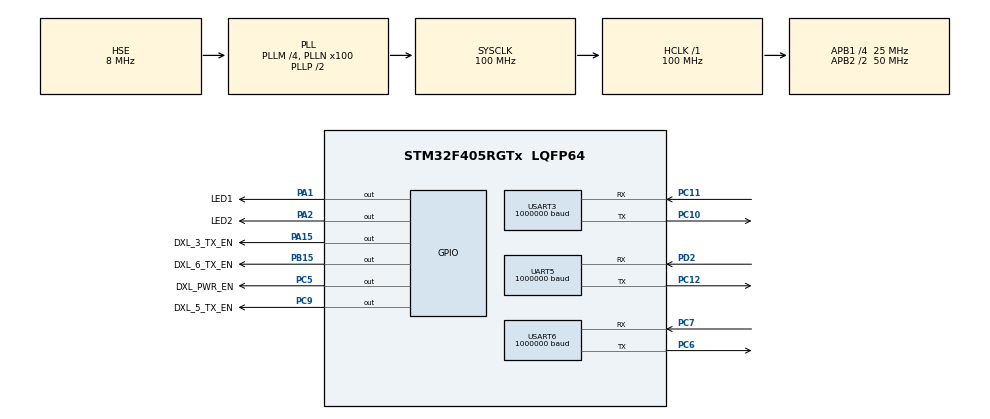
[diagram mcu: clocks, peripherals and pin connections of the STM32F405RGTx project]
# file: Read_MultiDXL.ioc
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FREERTOS.BinarySemaphores01=testDXL_semaphore,Dynamic,NULL,Available;readPosRxCmd_Semaphore,Dynamic,NULL,Available;readPosTxCmd_Semaphore,Dynamic,NULL,Available
FREERTOS.Tasks01=defaultTask,0,512,StartDefaultTask,Default,NULL,Dynamic,NULL,NULL;readPosU3Task,0,1024,StartReadPositionU3Task,Default,NULL,Dynamic,NULL,NULL;readPosU5Task,0,1024,StartReadPositionU5Task,Default,NULL,Dynamic,NULL,NULL;readPosU6Task,0,1024,StartReadPositionU6Task,Default,NULL,Dynamic,NULL,NULL
FREERTOS.configTOTAL_HEAP_SIZE=20000
FREERTOS.configUSE_NEWLIB_REENTRANT=1
Mcu.Family=STM32F4
Mcu.Name=STM32F405RGTx
Mcu.Package=LQFP64
NVIC.PriorityGroup=NVIC_PRIORITYGROUP_4
NVIC.TIM8_TRG_COM_TIM14_IRQn=true\:15\:0\:false\:false\:true\:false\:false\:true\:true
NVIC.TimeBase=TIM8_TRG_COM_TIM14_IRQn
NVIC.TimeBaseIP=TIM14
NVIC.UART5_IRQn=true\:5\:0\:false\:false\:true\:true\:true\:true\:true
NVIC.USART3_IRQn=true\:5\:0\:false\:false\:true\:true\:true\:true\:true
NVIC.USART6_IRQn=true\:5\:0\:false\:false\:true\:true\:true\:true\:true
PA1.GPIO_Label=LED1
PA1.Signal=GPIO_Output
PA13.Mode=Serial_Wire
PA13.Signal=SYS_JTMS-SWDIO
PA14.Mode=Serial_Wire
PA14.Signal=SYS_JTCK-SWCLK
PA15.GPIO_Label=DXL_3_TX_EN
PA15.Signal=GPIO_Output
PA2.GPIO_Label=LED2
PA2.Signal=GPIO_Output
PB15.GPIO_Label=DXL_6_TX_EN
PB15.Signal=GPIO_Output
PC10.Mode=Asynchronous
PC10.Signal=USART3_TX
PC11.Mode=Asynchronous
PC11.Signal=USART3_RX
PC12.Mode=Asynchronous
PC12.Signal=UART5_TX
PC5.GPIO_Label=DXL_PWR_EN
PC5.Signal=GPIO_Output
PC6.Mode=Asynchronous
PC6.Signal=USART6_TX
PC7.Mode=Asynchronous
PC7.Signal=USART6_RX
PC9.GPIO_Label=DXL_5_TX_EN
PC9.Signal=GPIO_Output
PD2.Mode=Asynchronous
PD2.Signal=UART5_RX
PH0-OSC_IN.Mode=HSE-External-Oscillator
PH0-OSC_IN.Signal=RCC_OSC_IN
PH1-OSC_OUT.Mode=HSE-External-Oscillator
PH1-OSC_OUT.Signal=RCC_OSC_OUT
ProjectManager.HeapSize=0x200
ProjectManager.StackSize=0x400
ProjectManager.TargetToolchain=STM32CubeIDE
RCC.48MHZClocksFreq_Value=50000000
RCC.AHBFreq_Value=100000000
RCC.APB1CLKDivider=RCC_HCLK_DIV4
RCC.APB1Freq_Value=25000000
RCC.APB1TimFreq_Value=50000000
RCC.APB2CLKDivider=RCC_HCLK_DIV2
RCC.APB2Freq_Value=50000000
RCC.APB2TimFreq_Value=100000000
RCC.CortexFreq_Value=100000000
RCC.HCLKFreq_Value=100000000
RCC.HSE_VALUE=8000000
RCC.HSI_VALUE=16000000
RCC.LSE_VALUE=32768
RCC.PLLM=4
RCC.PLLN=100
RCC.PLLSourceVirtual=RCC_PLLSOURCE_HSE
RCC.SYSCLKFreq_VALUE=100000000
RCC.SYSCLKSource=RCC_SYSCLKSOURCE_PLLCLK
RCC.VCOOutputFreq_Value=200000000
UART5.BaudRate=1000000
UART5.VirtualMode=Asynchronous
USART3.BaudRate=1000000
USART3.VirtualMode=VM_ASYNC
USART6.BaudRate=1000000
USART6.VirtualMode=VM_ASYNC
VP_FREERTOS_VS_CMSIS_V1.Mode=CMSIS_V1
VP_SYS_VS_tim14.Mode=TIM14
board=custom

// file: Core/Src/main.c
/* USER CODE BEGIN Header */
/**
  ******************************************************************************
  * @file           : main.c
  * @brief          : Main program body
  ******************************************************************************
  * @attention
  *
  * Copyright (c) 2025 STMicroelectronics.
  * All rights reserved.
  *
  * This software is licensed under terms that can be found in the LICENSE file
  * in the root directory of this software component.
  * If no LICENSE file comes with this software, it is provided AS-IS.
  *
  ******************************************************************************
  */
/* USER CODE END Header */
#include "main.h"
#include "cmsis_os.h"

/* USER CODE BEGIN Includes */
#include "string.h"
#include "stdbool.h"
#include "rbuf.h"
/* USER CODE END Includes */

/* USER CODE BEGIN PD */
//#define Test_DXL
#define DxlBufferSize				50
#define RingBufferSize				50
#define PositionResponseLength		15
/* USER CODE END PD */

UART_HandleTypeDef huart5;
UART_HandleTypeDef huart3;
UART_HandleTypeDef huart6;

osThreadId defaultTaskHandle;
osThreadId readPosU3TaskHandle;
osThreadId readPosU5TaskHandle;
osThreadId readPosU6TaskHandle;
osSemaphoreId testDXL_semaphoreHandle;
osSemaphoreId readPosRxCmd_SemaphoreHandle;
osSemaphoreId readPosTxCmd_SemaphoreHandle;
/* USER CODE BEGIN PV */

typedef enum
{
	ID_1 = 1,
	ID_2 = 2,
	ID_3 = 3
}DXL_ID_t;

typedef struct
{
	RBUF_HandleTypeDef *rbuf;
	uint8_t ringBuffer[RingBufferSize];
	uint8_t ringBuffer_Counter;
}RING_BUF_t;
RING_BUF_t ringBuf3, ringBuf5, ringBuf6;

typedef struct
{
	uint8_t rxByte;
	uint8_t dxlRecBuffer[DxlBufferSize];
	uint16_t dxlPosition;
}DXL_PKT_t;
DXL_PKT_t pkt3, pkt5, pkt6;

/* USER CODE END PV */

void SystemClock_Config(void);
static void MX_GPIO_Init(void);
static void MX_UART5_Init(void);
static void MX_USART3_UART_Init(void);
static void MX_USART6_UART_Init(void);
void StartDefaultTask(void const * argument);
void StartReadPositionU3Task(void const * argument);
void StartReadPositionU5Task(void const * argument);
void StartReadPositionU6Task(void const * argument);

/* USER CODE BEGIN PFP */
uint16_t update_crc(uint16_t crc_accum, uint8_t *data_blk_ptr, uint16_t data_blk_size);
void ReadPos_Request(uint8_t ID);
uint16_t Pos_Calculate(uint8_t *packet);
void test_dxl(void);
/* USER CODE END PFP */

int main(void)
{

  /* MCU Configuration--------------------------------------------------------*/

  /* Reset of all peripherals, Initializes the Flash interface and the Systick. */
  HAL_Init();

  /* Configure the system clock */
  SystemClock_Config();

  /* Initialize all configured peripherals */
  MX_GPIO_Init();
  MX_UART5_Init();
  MX_USART3_UART_Init();
  MX_USART6_UART_Init();
  /* USER CODE BEGIN 2 */
  HAL_GPIO_WritePin(DXL_PWR_EN_GPIO_Port, DXL_PWR_EN_Pin, GPIO_PIN_SET);

  HAL_UART_Receive_IT(&huart3, &pkt3.rxByte, 1);
  HAL_UART_Receive_IT(&huart5, &pkt5.rxByte, 1);
  HAL_UART_Receive_IT(&huart6, &pkt6.rxByte, 1);

  ringBuf3.rbuf = RBUF_Init(sizeof(uint8_t), RingBufferSize);
  ringBuf5.rbuf = RBUF_Init(sizeof(uint8_t), RingBufferSize);
  ringBuf6.rbuf = RBUF_Init(sizeof(uint8_t), RingBufferSize);
  /* USER CODE END 2 */

  /* Create the semaphores(s) */
  /* definition and creation of testDXL_semaphore */
  osSemaphoreDef(testDXL_semaphore);
  testDXL_semaphoreHandle = osSemaphoreCreate(osSemaphore(testDXL_semaphore), 1);

  /* definition and creation of readPosRxCmd_Semaphore */
  osSemaphoreDef(readPosRxCmd_Semaphore);
  readPosRxCmd_SemaphoreHandle = osSemaphoreCreate(osSemaphore(readPosRxCmd_Semaphore), 1);

  /* definition and creation of readPosTxCmd_Semaphore */
  osSemaphoreDef(readPosTxCmd_Semaphore);
  readPosTxCmd_SemaphoreHandle = osSemaphoreCreate(osSemaphore(readPosTxCmd_Semaphore), 1);

  /* Create the thread(s) */
  /* definition and creation of defaultTask */
  osThreadDef(defaultTask, StartDefaultTask, osPriorityNormal, 0, 512);
  defaultTaskHandle = osThreadCreate(osThread(defaultTask), NULL);

  /* definition and creation of readPosU3Task */
  osThreadDef(readPosU3Task, StartReadPositionU3Task, osPriorityNormal, 0, 1024);
  readPosU3TaskHandle = osThreadCreate(osThread(readPosU3Task), NULL);

  /* definition and creation of readPosU5Task */
  osThreadDef(readPosU5Task, StartReadPositionU5Task, osPriorityNormal, 0, 1024);
  readPosU5TaskHandle = osThreadCreate(osThread(readPosU5Task), NULL);

  /* definition and creation of readPosU6Task */
  osThreadDef(readPosU6Task, StartReadPositionU6Task, osPriorityNormal, 0, 1024);
  readPosU6TaskHandle = osThreadCreate(osThread(readPosU6Task), NULL);

  /* Start scheduler */
  osKernelStart();

  /* We should never get here as control is now taken by the scheduler */

  /* Infinite loop */
  while (1)
  {

  }
}

void SystemClock_Config(void)
{
  RCC_OscInitTypeDef RCC_OscInitStruct = {0};
  RCC_ClkInitTypeDef RCC_ClkInitStruct = {0};

  /** Configure the main internal regulator output voltage
  */
  __HAL_RCC_PWR_CLK_ENABLE();
  __HAL_PWR_VOLTAGESCALING_CONFIG(PWR_REGULATOR_VOLTAGE_SCALE1);

  /** Initializes the RCC Oscillators according to the specified parameters
  * in the RCC_OscInitTypeDef structure.
  */
  RCC_OscInitStruct.OscillatorType = RCC_OSCILLATORTYPE_HSE;
  RCC_OscInitStruct.HSEState = RCC_HSE_ON;
  RCC_OscInitStruct.PLL.PLLState = RCC_PLL_ON;
  RCC_OscInitStruct.PLL.PLLSource = RCC_PLLSOURCE_HSE;
  RCC_OscInitStruct.PLL.PLLM = 4;
  RCC_OscInitStruct.PLL.PLLN = 100;
  RCC_OscInitStruct.PLL.PLLP = RCC_PLLP_DIV2;
  RCC_OscInitStruct.PLL.PLLQ = 4;
  if (HAL_RCC_OscConfig(&RCC_OscInitStruct) != HAL_OK)
  {
    Error_Handler();
  }

  /** Initializes the CPU, AHB and APB buses clocks
  */
  RCC_ClkInitStruct.ClockType = RCC_CLOCKTYPE_HCLK|RCC_CLOCKTYPE_SYSCLK
                              |RCC_CLOCKTYPE_PCLK1|RCC_CLOCKTYPE_PCLK2;
  RCC_ClkInitStruct.SYSCLKSource = RCC_SYSCLKSOURCE_PLLCLK;
  RCC_ClkInitStruct.AHBCLKDivider = RCC_SYSCLK_DIV1;
  RCC_ClkInitStruct.APB1CLKDivider = RCC_HCLK_DIV4;
  RCC_ClkInitStruct.APB2CLKDivider = RCC_HCLK_DIV2;

  if (HAL_RCC_ClockConfig(&RCC_ClkInitStruct, FLASH_LATENCY_3) != HAL_OK)
  {
    Error_Handler();
  }
}

static void MX_UART5_Init(void)
{

  huart5.Instance = UART5;
  huart5.Init.BaudRate = 1000000;
  huart5.Init.WordLength = UART_WORDLENGTH_8B;
  huart5.Init.StopBits = UART_STOPBITS_1;
  huart5.Init.Parity = UART_PARITY_NONE;
  huart5.Init.Mode = UART_MODE_TX_RX;
  huart5.Init.HwFlowCtl = UART_HWCONTROL_NONE;
  huart5.Init.OverSampling = UART_OVERSAMPLING_16;
  if (HAL_UART_Init(&huart5) != HAL_OK)
  {
    Error_Handler();
  }

}

static void MX_USART3_UART_Init(void)
{

  huart3.Instance = USART3;
  huart3.Init.BaudRate = 1000000;
  huart3.Init.WordLength = UART_WORDLENGTH_8B;
  huart3.Init.StopBits = UART_STOPBITS_1;
  huart3.Init.Parity = UART_PARITY_NONE;
  huart3.Init.Mode = UART_MODE_TX_RX;
  huart3.Init.HwFlowCtl = UART_HWCONTROL_NONE;
  huart3.Init.OverSampling = UART_OVERSAMPLING_16;
  if (HAL_UART_Init(&huart3) != HAL_OK)
  {
    Error_Handler();
  }

}

static void MX_USART6_UART_Init(void)
{

  huart6.Instance = USART6;
  huart6.Init.BaudRate = 1000000;
  huart6.Init.WordLength = UART_WORDLENGTH_8B;
  huart6.Init.StopBits = UART_STOPBITS_1;
  huart6.Init.Parity = UART_PARITY_NONE;
  huart6.Init.Mode = UART_MODE_TX_RX;
  huart6.Init.HwFlowCtl = UART_HWCONTROL_NONE;
  huart6.Init.OverSampling = UART_OVERSAMPLING_16;
  if (HAL_UART_Init(&huart6) != HAL_OK)
  {
    Error_Handler();
  }

}

static void MX_GPIO_Init(void)
{
  GPIO_InitTypeDef GPIO_InitStruct = {0};

  /* GPIO Ports Clock Enable */
  __HAL_RCC_GPIOH_CLK_ENABLE();
  __HAL_RCC_GPIOA_CLK_ENABLE();
  __HAL_RCC_GPIOC_CLK_ENABLE();
  __HAL_RCC_GPIOB_CLK_ENABLE();
  __HAL_RCC_GPIOD_CLK_ENABLE();

  /*Configure GPIO pin Output Level */
  HAL_GPIO_WritePin(GPIOA, LED1_Pin|LED2_Pin|DXL_3_TX_EN_Pin, GPIO_PIN_RESET);

  /*Configure GPIO pin Output Level */
  HAL_GPIO_WritePin(GPIOC, DXL_PWR_EN_Pin|DXL_5_TX_EN_Pin, GPIO_PIN_RESET);

  /*Configure GPIO pin Output Level */
  HAL_GPIO_WritePin(DXL_6_TX_EN_GPIO_Port, DXL_6_TX_EN_Pin, GPIO_PIN_RESET);

  /*Configure GPIO pins : LED1_Pin LED2_Pin DXL_3_TX_EN_Pin */
  GPIO_InitStruct.Pin = LED1_Pin|LED2_Pin|DXL_3_TX_EN_Pin;
  GPIO_InitStruct.Mode = GPIO_MODE_OUTPUT_PP;
  GPIO_InitStruct.Pull = GPIO_NOPULL;
  GPIO_InitStruct.Speed = GPIO_SPEED_FREQ_LOW;
  HAL_GPIO_Init(GPIOA, &GPIO_InitStruct);

  /*Configure GPIO pins : DXL_PWR_EN_Pin DXL_5_TX_EN_Pin */
  GPIO_InitStruct.Pin = DXL_PWR_EN_Pin|DXL_5_TX_EN_Pin;
  GPIO_InitStruct.Mode = GPIO_MODE_OUTPUT_PP;
  GPIO_InitStruct.Pull = GPIO_NOPULL;
  GPIO_InitStruct.Speed = GPIO_SPEED_FREQ_LOW;
  HAL_GPIO_Init(GPIOC, &GPIO_InitStruct);

  /*Configure GPIO pin : DXL_6_TX_EN_Pin */
  GPIO_InitStruct.Pin = DXL_6_TX_EN_Pin;
  GPIO_InitStruct.Mode = GPIO_MODE_OUTPUT_PP;
  GPIO_InitStruct.Pull = GPIO_NOPULL;
  GPIO_InitStruct.Speed = GPIO_SPEED_FREQ_LOW;
  HAL_GPIO_Init(DXL_6_TX_EN_GPIO_Port, &GPIO_InitStruct);

}

/* USER CODE BEGIN 4 */
// <---- ----- Calculate CRC ----- ---->
uint16_t update_crc(uint16_t crc_accum, uint8_t *data_blk_ptr, uint16_t data_blk_size)
{
    uint16_t i, j;
    static const uint16_t crc_table[256] = {
        0x0000, 0x8005, 0x800F, 0x000A, 0x801B, 0x001E, 0x0014, 0x8011,
        0x8033, 0x0036, 0x003C, 0x8039, 0x0028, 0x802D, 0x8027, 0x0022,
        0x8063, 0x0066, 0x006C, 0x8069, 0x0078, 0x807D, 0x8077, 0x0072,
        0x0050, 0x8055, 0x805F, 0x005A, 0x804B, 0x004E, 0x0044, 0x8041,
        0x80C3, 0x00C6, 0x00CC, 0x80C9, 0x00D8, 0x80DD, 0x80D7, 0x00D2,
        0x00F0, 0x80F5, 0x80FF, 0x00FA, 0x80EB, 0x00EE, 0x00E4, 0x80E1,
        0x00A0, 0x80A5, 0x80AF, 0x00AA, 0x80BB, 0x00BE, 0x00B4, 0x80B1,
        0x8093, 0x0096, 0x009C, 0x8099, 0x0088, 0x808D, 0x8087, 0x0082,
        0x8183, 0x0186, 0x018C, 0x8189, 0x0198, 0x819D, 0x8197, 0x0192,
        0x01B0, 0x81B5, 0x81BF, 0x01BA, 0x81AB, 0x01AE, 0x01A4, 0x81A1,
        0x01E0, 0x81E5, 0x81EF, 0x01EA, 0x81FB, 0x01FE, 0x01F4, 0x81F1,
        0x81D3, 0x01D6, 0x01DC, 0x81D9, 0x01C8, 0x81CD, 0x81C7, 0x01C2,
        0x0140, 0x8145, 0x814F, 0x014A, 0x815B, 0x015E, 0x0154, 0x8151,
        0x8173, 0x0176, 0x017C, 0x8179, 0x0168, 0x816D, 0x8167, 0x0162,
        0x8123, 0x0126, 0x012C, 0x8129, 0x0138, 0x813D, 0x8137, 0x0132,
        0x0110, 0x8115, 0x811F, 0x011A, 0x810B, 0x010E, 0x0104, 0x8101,
        0x8303, 0x0306, 0x030C, 0x8309, 0x0318, 0x831D, 0x8317, 0x0312,
        0x0330, 0x8335, 0x833F, 0x033A, 0x832B, 0x032E, 0x0324, 0x8321,
        0x0360, 0x8365, 0x836F, 0x036A, 0x837B, 0x037E, 0x0374, 0x8371,
        0x8353, 0x0356, 0x035C, 0x8359, 0x0348, 0x834D, 0x8347, 0x0342,
        0x03C0, 0x83C5, 0x83CF, 0x03CA, 0x83DB, 0x03DE, 0x03D4, 0x83D1,
        0x83F3, 0x03F6, 0x03FC, 0x83F9, 0x03E8, 0x83ED, 0x83E7, 0x03E2,
        0x83A3, 0x03A6, 0x03AC, 0x83A9, 0x03B8, 0x83BD, 0x83B7, 0x03B2,
        0x0390, 0x8395, 0x839F, 0x039A, 0x838B, 0x038E, 0x0384, 0x8381,
        0x0280, 0x8285, 0x828F, 0x028A, 0x829B, 0x029E, 0x0294, 0x8291,
        0x82B3, 0x02B6, 0x02BC, 0x82B9, 0x02A8, 0x82AD, 0x82A7, 0x02A2,
        0x82E3, 0x02E6, 0x02EC, 0x82E9, 0x02F8, 0x82FD, 0x82F7, 0x02F2,
        0x02D0, 0x82D5, 0x82DF, 0x02DA, 0x82CB, 0x02CE, 0x02C4, 0x82C1,
        0x8243, 0x0246, 0x024C, 0x8249, 0x0258, 0x825D, 0x8257, 0x0252,
        0x0270, 0x8275, 0x827F, 0x027A, 0x826B, 0x026E, 0x0264, 0x8261,
        0x0220, 0x8225, 0x822F, 0x022A, 0x823B, 0x023E, 0x0234, 0x8231,
        0x8213, 0x0216, 0x021C, 0x8219, 0x0208, 0x820D, 0x8207, 0x0202
    };

    for(j = 0; j < data_blk_size; j++)
    {
        i = ((uint16_t)(crc_accum >> 8) ^ data_blk_ptr[j]) & 0xFF;
        crc_accum = (crc_accum << 8) ^ crc_table[i];
    }

    return crc_accum;
}

// <---- ----- Read Present Position Function ----- ---->
void ReadPos_Request(uint8_t ID)
{
	static uint8_t pkt[20];
	pkt[0] = 0xFF;
	pkt[1] = 0xFF;
	pkt[2] = 0xFD;
	pkt[3] = 0x00;
	pkt[4] = ID;
	pkt[5] = 0x07;
	pkt[6] = 0x00;
	pkt[7] = 0x02;
	pkt[8] = 0x84;
	pkt[9] = 0x00;
	pkt[10] = 0x04;
	pkt[11] = 0x00;	// Packet without CRC (11 bytes)

	uint16_t pkt_Len = pkt[5] + 5;  // (without CRC) Dynamixel 2.0: length byte + header

	// Compute CRC over first 11 bytes
	uint16_t crc = update_crc(0, pkt, pkt_Len);

	// Append CRC at the end
	pkt[pkt_Len] = crc & 0xFF;        // CRC Low byte
	pkt[pkt_Len + 1] = (crc >> 8) & 0xFF; // CRC High byte

	HAL_GPIO_WritePin(DXL_3_TX_EN_GPIO_Port, DXL_3_TX_EN_Pin , GPIO_PIN_SET);
	HAL_GPIO_WritePin(DXL_5_TX_EN_GPIO_Port, DXL_5_TX_EN_Pin , GPIO_PIN_SET);
	HAL_GPIO_WritePin(DXL_6_TX_EN_GPIO_Port, DXL_6_TX_EN_Pin , GPIO_PIN_SET);
	HAL_UART_Transmit_IT(&huart3, (uint8_t *)pkt, (pkt_Len + 2));
	HAL_UART_Transmit_IT(&huart5, (uint8_t *)pkt, (pkt_Len + 2));
	HAL_UART_Transmit_IT(&huart6, (uint8_t *)pkt, (pkt_Len + 2));
}

uint16_t Pos_Calculate(uint8_t *packet)
{
	uint16_t position = packet[9] | (packet[10] << 8);

	return position;
}

// <---- ----- Transmit Complete Callback Function ----- ---->
void HAL_UART_TxCpltCallback(UART_HandleTypeDef *huart)
{
	if(huart->Instance == USART3)
	{
		HAL_GPIO_WritePin(DXL_3_TX_EN_GPIO_Port, DXL_3_TX_EN_Pin , GPIO_PIN_RESET);
	}

	if(huart->Instance == UART5)
	{
		HAL_GPIO_WritePin(DXL_5_TX_EN_GPIO_Port, DXL_5_TX_EN_Pin , GPIO_PIN_RESET);
	}

	if(huart->Instance == USART6)
	{
		HAL_GPIO_WritePin(DXL_6_TX_EN_GPIO_Port, DXL_6_TX_EN_Pin , GPIO_PIN_RESET);
	}

#ifdef Test_DXL
	BaseType_t xHigherPriorityTaskWoken = pdFALSE;
	xSemaphoreGiveFromISR(testDXL_semaphoreHandle, &xHigherPriorityTaskWoken);
	portYIELD_FROM_ISR(xHigherPriorityTaskWoken);
#endif/* Test_DXL */
}

// <---- ----- Receive Complete Callback Function ----- ---->
void HAL_UART_RxCpltCallback(UART_HandleTypeDef *huart)
{
	if(huart->Instance == USART3)
	{
		RBUF_Push(ringBuf3.rbuf, &pkt3.rxByte);
		ringBuf3.ringBuffer_Counter++;

		HAL_UART_Receive_IT(&huart3, &pkt3.rxByte, 1);

		BaseType_t xHigherPriorityTaskWoken = pdFALSE;
		xSemaphoreGiveFromISR(readPosRxCmd_SemaphoreHandle, &xHigherPriorityTaskWoken);
		portYIELD_FROM_ISR(xHigherPriorityTaskWoken);
	}

	if(huart->Instance == UART5)
	{
		RBUF_Push(ringBuf5.rbuf, &pkt5.rxByte);
		ringBuf5.ringBuffer_Counter++;

		HAL_UART_Receive_IT(&huart5, &pkt5.rxByte, 1);

		BaseType_t xHigherPriorityTaskWoken = pdFALSE;
		xSemaphoreGiveFromISR(readPosRxCmd_SemaphoreHandle, &xHigherPriorityTaskWoken);
		portYIELD_FROM_ISR(xHigherPriorityTaskWoken);
	}

	if(huart->Instance == USART6)
	{
		RBUF_Push(ringBuf6.rbuf, &pkt6.rxByte);
		ringBuf6.ringBuffer_Counter++;

		HAL_UART_Receive_IT(&huart6, &pkt6.rxByte, 1);

		BaseType_t xHigherPriorityTaskWoken = pdFALSE;
		xSemaphoreGiveFromISR(readPosRxCmd_SemaphoreHandle, &xHigherPriorityTaskWoken);
		portYIELD_FROM_ISR(xHigherPriorityTaskWoken);
	}
}

// <---- ----- Test Dynamixel_ID1 ----- ---->
void test_dxl(void)
{
#ifdef Test_DXL
	uint8_t tmp[20] = {0xFF, 0xFF, 0xFD, 0x00, 0x01, 0x06, 0x00, 0x03, 0x41, 0x00, 0x01};	// Packet without CRC (11 bytes)
	uint16_t pkt_Len = tmp[5] + 5;  // (without CRC) Dynamixel 2.0: length byte + header

	// Compute CRC over first 11 bytes
	uint16_t crc = update_crc(0, tmp, pkt_Len);

    // Append CRC at the end
    tmp[pkt_Len] = crc & 0xFF;        // CRC Low byte
    tmp[pkt_Len + 1] = (crc >> 8) & 0xFF; // CRC High byte

	HAL_GPIO_WritePin(DXL_5_TX_EN_GPIO_Port, DXL_5_TX_EN_Pin , GPIO_PIN_SET);
	HAL_UART_Transmit_IT(&huart5, (uint8_t *)tmp, (pkt_Len + 2));

	/* wait for TX complete (signaled by TxCpltCallback) */
	xSemaphoreTake(testDXL_semaphoreHandle, portMAX_DELAY);
#endif /* Test_DXL */
}
/* USER CODE END 4 */

void StartDefaultTask(void const * argument)
{
  /* USER CODE BEGIN 5 */
	uint8_t id = 1;
  /* Infinite loop */
  for(;;)
  {
#ifdef Test_DXL
	  test_dxl();
#endif

	  switch(id)
	  {
		  case ID_1:
			  ReadPos_Request(ID_1);
			  id = 2;
			  break;
		  case ID_2:
			  ReadPos_Request(ID_2);
			  id = 3;
			  break;
		  case ID_3:
			  ReadPos_Request(ID_3);
			  id = 1;
			  break;
	  }

	  HAL_GPIO_TogglePin(LED1_GPIO_Port, LED1_Pin);
	  osDelay(100);
  }
  /* USER CODE END 5 */
}

void StartReadPositionU3Task(void const * argument)
{
  /* USER CODE BEGIN StartReadPositionU3Task */
  /* Infinite loop */
  for(;;)
  {
	  if(ringBuf3.ringBuffer_Counter >= PositionResponseLength)
	  {
		  if(xSemaphoreTake(readPosRxCmd_SemaphoreHandle, portMAX_DELAY) == pdTRUE)
		  {
			  for(uint8_t i = 0; i < PositionResponseLength; i++)
			  {
				  RBUF_Pop(ringBuf3.rbuf, &pkt3.dxlRecBuffer[i]);
			  }
			  pkt3.dxlPosition = Pos_Calculate(pkt3.dxlRecBuffer);
			  ringBuf3.ringBuffer_Counter = 0;
		  }
	  }
  }
  /* USER CODE END StartReadPositionU3Task */
}

void StartReadPositionU5Task(void const * argument)
{
  /* USER CODE BEGIN StartReadPositionU5Task */
  /* Infinite loop */
  for(;;)
  {
	  if(ringBuf5.ringBuffer_Counter >= PositionResponseLength)
	  {
		  if(xSemaphoreTake(readPosRxCmd_SemaphoreHandle, portMAX_DELAY) == pdTRUE)
		  {
			  for(uint8_t i = 0; i < PositionResponseLength; i++)
			  {
				  RBUF_Pop(ringBuf5.rbuf, &pkt5.dxlRecBuffer[i]);
			  }
			  pkt5.dxlPosition = Pos_Calculate(pkt5.dxlRecBuffer);
			  ringBuf5.ringBuffer_Counter = 0;
		  }
	  }
  }
  /* USER CODE END StartReadPositionU5Task */
}

void StartReadPositionU6Task(void const * argument)
{
  /* USER CODE BEGIN StartReadPositionU6Task */
  /* Infinite loop */
  for(;;)
  {
	  if(ringBuf6.ringBuffer_Counter >= PositionResponseLength)
	  {
		  if(xSemaphoreTake(readPosRxCmd_SemaphoreHandle, portMAX_DELAY) == pdTRUE)
		  {
			  for(uint8_t i = 0; i < PositionResponseLength; i++)
			  {
				  RBUF_Pop(ringBuf6.rbuf, &pkt6.dxlRecBuffer[i]);
			  }
			  pkt6.dxlPosition = Pos_Calculate(pkt6.dxlRecBuffer);
			  ringBuf6.ringBuffer_Counter = 0;
		  }
	  }
  }
  /* USER CODE END StartReadPositionU6Task */
}

void HAL_TIM_PeriodElapsedCallback(TIM_HandleTypeDef *htim)
{
  if (htim->Instance == TIM14)
  {
    HAL_IncTick();
  }
}

void Error_Handler(void)
{
  /* USER CODE BEGIN Error_Handler_Debug */
  /* User can add his own implementation to report the HAL error return state */
  __disable_irq();
  while (1)
  {
	  HAL_GPIO_WritePin(LED2_GPIO_Port, LED2_Pin, GPIO_PIN_SET);
  }
  /* USER CODE END Error_Handler_Debug */
}
